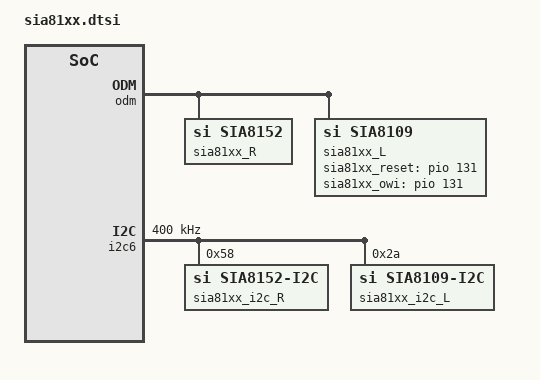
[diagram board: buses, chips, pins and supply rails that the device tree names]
/*
 * Copyright (c) 2020 MediaTek Inc.
 *
 * This program is free software; you can redistribute it and/or modify
 * it under the terms of the GNU General Public License version 2 as
 * published by the Free Software Foundation.
 *
 * This program is distributed in the hope that it will be useful,
 * but WITHOUT ANY WARRANTY; without even the implied warranty of
 * MERCHANTABILITY or FITNESS FOR A PARTICULAR PURPOSE.  See the
 * GNU General Public License for more details.
 */

&pio {
/*
	sia81xx_gpio_R: sia81xx_gpio_R {
		pins_cmd_dat {
			pinmux = <PINMUX_GPIO3__FUNC_GPIO3>;

			slew-rate = <1>;
			bias-disable;
		};
	};
*/
	sia81xx_gpio_L: sia81xx_gpio_L {
		pins_cmd_dat {
			pinmux = <PINMUX_GPIO131__FUNC_GPIO131>;

			slew-rate = <1>;
			bias-disable;
		};
	};
};

&odm {
	sia81xx_R: sia81xx@R {
		compatible = "si,sia8152";
		si,sia81xx_type = "sia8152";
//		si,sia81xx_reset = <&pio 3 0>;
//		si,sia81xx_owi = <&pio 3 0>;
//		pinctrl-names = "sia81xx_gpio";
//		pinctrl-0 = <&sia81xx_gpio_R>;

		si,sia81xx_disable_pin = <1>;

		/* the same value share a same task
		 * valid value range : 0 ~ 7 */
		timer_task_hdl = <0>;

		channel_num = <0>;
		owi_mode = <1>;
		en_x_filter = <0>;
		en_dynamic_updata_vdd = <1>;
		en_dynamic_updata_pvdd = <1>;
		dynamic_updata_vdd_port = <0x2>;
	};

	sia81xx_L: sia81xx@L {
		compatible = "si,sia8109";
		si,sia81xx_type = "sia81x9";
		si,sia81xx_reset = <&pio 131 0>;
		si,sia81xx_owi = <&pio 131 0>;
		pinctrl-names = "sia81xx_gpio";
		pinctrl-0 = <&sia81xx_gpio_L>;

		si,sia81xx_disable_pin = <0>;

		/* the same value share a same task
		 * valid value range : 0 ~ 7 */
		timer_task_hdl = <0>;

		channel_num = <1>;
		owi_mode = <1>;
		en_x_filter = <0>;
		en_dynamic_updata_vdd = <1>;
		en_dynamic_updata_pvdd = <0>;
		dynamic_updata_vdd_port = <0x2>;
	};
};

&sound {
	si,sia81xx-max-num = <2>;
	si,sia81xx-aux-devs = <&sia81xx_R>, <&sia81xx_L>;
	si,sia81xx-aux-devs-prefix = "SpkrRight", "SpkrLeft";
};

&i2c6 {
	#address-cells = <1>;
	#size-cells = <0>;
	clock-frequency = <400000>;
	mediatek,use-open-drain;

	sia81xx_i2c_R: sia81xx_i2c@R {
		compatible = "si,sia8152-i2c";
		reg = <0x58>;
		si,sia81xx-dev = <&sia81xx_R>;
	};

	sia81xx_i2c_L: sia81xx_i2c@L {
		compatible = "si,sia8109-i2c";
		reg = <0x2a>;
		si,sia81xx-dev = <&sia81xx_L>;
	};
};
